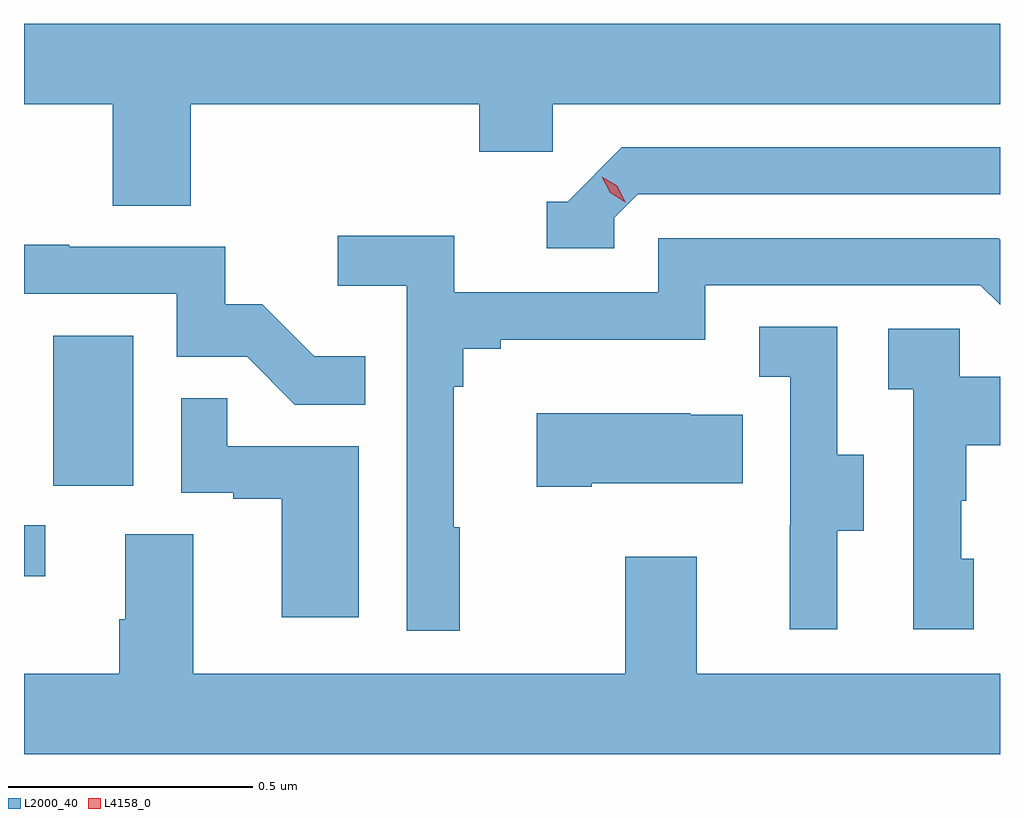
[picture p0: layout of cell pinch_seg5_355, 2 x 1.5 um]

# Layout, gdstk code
import gdstk
lib = gdstk.Library(unit=1e-6, precision=1e-09)
def R(c, l, rs):  # rectangles x0, y0, x1, y1
    for r in rs: c.add(gdstk.rectangle(r[:2], r[2:], *l))
def P(c, l, *ps):  # polygons
    for p in ps: c.add(gdstk.Polygon(p, *l))
L2000_40 = (2000, 40)
L4158_0 = (4158, 0)

pinch_seg5_355 = lib.new_cell('pinch_seg5_355')
R(pinch_seg5_355, L2000_40, [(952.472,886.428,952.516,886.533), (952.532,886.614,952.696,886.921)])
P(pinch_seg5_355, L2000_40, [(952.814,887.396),(953.405,887.396),(953.405,887.298),(953.556,887.298),(953.556,887.396),(954.472,887.396),(954.472,887.56),(952.472,887.56),(952.472,887.396),(952.654,887.396),(952.654,887.188),(952.814,887.188)],
  [(953.682,887.163),(953.73,887.211),(954.472,887.211),(954.472,887.307),(953.697,887.307),(953.586,887.196),(953.543,887.196),(953.543,887.1),(953.682,887.1)],
  [(953.365,886.529),(953.353,886.529),(953.353,886.817),(953.372,886.817),(953.372,886.894),(953.449,886.894),(953.449,886.913),(953.868,886.913),(953.868,887.025),(954.432,887.025),(954.472,886.985),(954.472,887.118),(954.469,887.121),(953.772,887.121),(953.772,887.01),(953.354,887.01),(953.354,887.126),(953.115,887.126),(953.115,887.024),(953.256,887.024),(953.256,886.317),(953.365,886.317)],
  [(953.171,886.879),(953.067,886.879),(952.96,886.986),(952.884,886.986),(952.884,887.103),(952.565,887.103),(952.565,887.108),(952.472,887.108),(952.472,887.007),(952.785,887.007),(952.785,886.878),(952.929,886.878),(953.027,886.78),(953.171,886.78)],
  [(954.139,886.522),(954.193,886.522),(954.193,886.677),(954.138,886.677),(954.138,886.94),(953.979,886.94),(953.979,886.837),(954.042,886.837),(954.042,886.533),(954.041,886.533),(954.041,886.32),(954.139,886.32)],
  [(954.418,886.464),(954.393,886.464),(954.393,886.583),(954.403,886.583),(954.403,886.697),(954.472,886.697),(954.472,886.837),(954.39,886.837),(954.39,886.935),(954.243,886.935),(954.243,886.811),(954.294,886.811),(954.294,886.32),(954.418,886.32)],
  [(953.158,886.695),(952.889,886.695),(952.889,886.793),(952.794,886.793),(952.794,886.599),(952.901,886.599),(952.901,886.587),(953,886.587),(953,886.344),(953.158,886.344)],
  [(953.635,886.619),(953.945,886.619),(953.945,886.759),(953.837,886.759),(953.837,886.762),(953.523,886.762),(953.523,886.612),(953.635,886.612)],
  [(954.472,886.228),(953.851,886.228),(953.851,886.468),(953.704,886.468),(953.704,886.228),(952.819,886.228),(952.819,886.514),(952.679,886.514),(952.679,886.34),(952.667,886.34),(952.667,886.228),(952.472,886.228),(952.472,886.064),(954.472,886.064)])
P(pinch_seg5_355, L4158_0, [(953.704,887.195),(953.673,887.214),(953.656,887.247),(953.656,887.247),(953.656,887.247),(953.688,887.228),(953.704,887.195),(953.704,887.195)])

lib.write_gds('pinch_seg5_355.gds')
